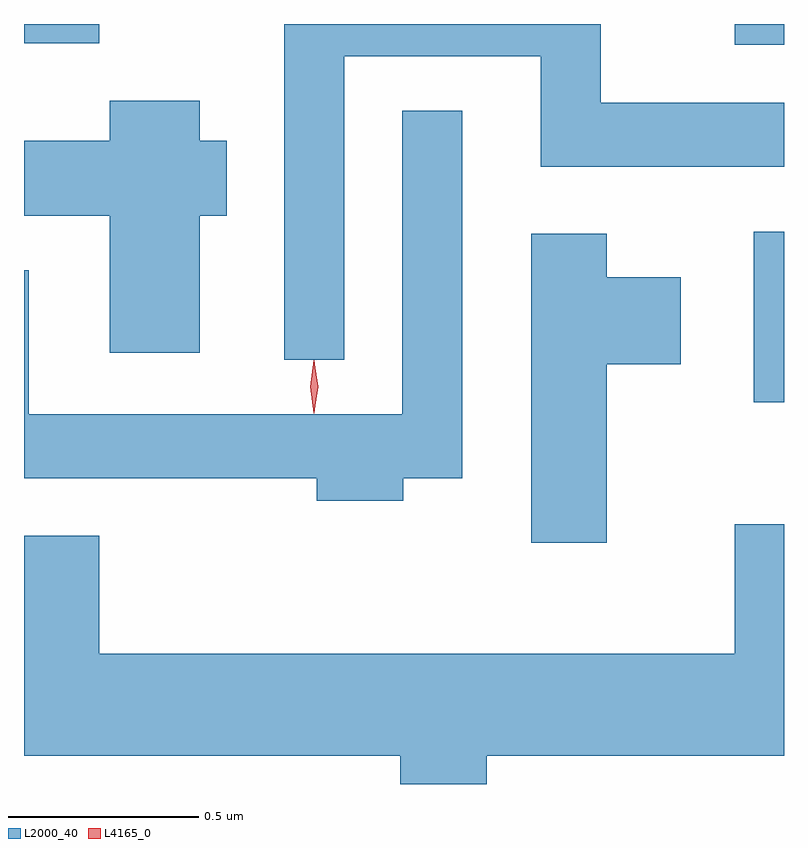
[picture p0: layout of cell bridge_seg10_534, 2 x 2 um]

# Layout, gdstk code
import gdstk
lib = gdstk.Library(unit=1e-6, precision=1e-09)
def R(c, l, rs):  # rectangles x0, y0, x1, y1
    for r in rs: c.add(gdstk.rectangle(r[:2], r[2:], *l))
def P(c, l, *ps):  # polygons
    for p in ps: c.add(gdstk.Polygon(p, *l))
L2000_40 = (2000, 40)
L4165_0 = (4165, 0)

bridge_seg10_534 = lib.new_cell('bridge_seg10_534')
R(bridge_seg10_534, L2000_40, [(873.001,2174.786,873.081,2175.234), (872.951,2175.726,873.081,2175.781), (871.081,2175.731,871.279,2175.781)])
P(bridge_seg10_534, L2000_40, [(871.924,2175.696),(872.441,2175.696),(872.441,2175.406),(873.081,2175.406),(873.081,2175.574),(872.599,2175.574),(872.599,2175.781),(871.766,2175.781),(871.766,2174.898),(871.924,2174.898)],
  [(871.544,2175.276),(871.614,2175.276),(871.614,2175.474),(871.544,2175.474),(871.544,2175.579),(871.306,2175.579),(871.306,2175.474),(871.081,2175.474),(871.081,2175.276),(871.306,2175.276),(871.306,2174.916),(871.544,2174.916)],
  [(872.079,2174.586),(872.234,2174.586),(872.234,2175.553),(872.076,2175.553),(872.076,2174.754),(871.094,2174.754),(871.094,2175.133),(871.081,2175.133),(871.081,2174.586),(871.851,2174.586),(871.851,2174.526),(872.079,2174.526)],
  [(872.614,2174.886),(872.809,2174.886),(872.809,2175.114),(872.614,2175.114),(872.614,2175.229),(872.416,2175.229),(872.416,2174.416),(872.614,2174.416)],
  [(872.299,2173.856),(873.081,2173.856),(873.081,2174.464),(872.951,2174.464),(872.951,2174.124),(871.279,2174.124),(871.279,2174.434),(871.081,2174.434),(871.081,2173.856),(872.071,2173.856),(872.071,2173.781),(872.299,2173.781)])
P(bridge_seg10_534, L4165_0, [(871.844,2174.757),(871.844,2174.757),(871.834,2174.826),(871.844,2174.896),(871.844,2174.896),(871.845,2174.896),(871.854,2174.826),(871.845,2174.757)],
  [(871.845,2174.759),(871.844,2174.76),(871.835,2174.826),(871.844,2174.892),(871.845,2174.893),(871.845,2174.892),(871.855,2174.826),(871.845,2174.76)])

lib.write_gds('bridge_seg10_534.gds')
